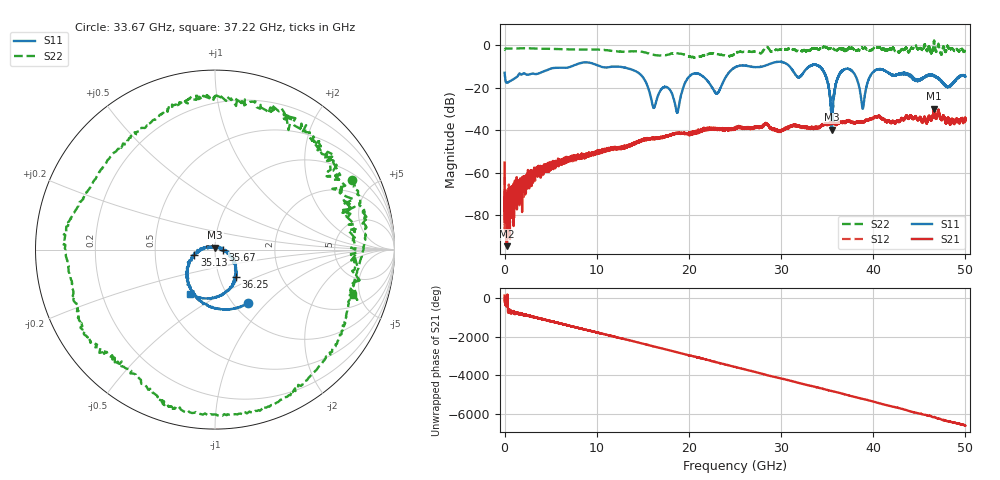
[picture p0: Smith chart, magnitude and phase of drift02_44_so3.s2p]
!Created with skrf (http://scikit-rf.org).
# Hz S RI R 50.0
!freq ReS11 ImS11 ReS21 ImS21 ReS12 ImS12 ReS22 ImS22
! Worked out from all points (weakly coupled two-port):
!   10001 points, 300 kHz to 50 GHz, reference 50 ohm
!   highest |S21| = -29.75 dB at 46.61 GHz (marker M1); lowest = -94.7 dB at 260.3 MHz (marker M2)
!   lowest |S11| = -39.7 dB at 35.51 GHz (marker M3), VSWR 1.02, Z = 50 + j1.03 ohm
!   |S11| at or under -10 dB: start of sweep to 7.178 GHz; 12.37 GHz to 25.16 GHz (12.79 GHz wide, 68.2 % of centre); 34.22 GHz to end of sweep (the widest 3 of 15)
!   |S22| runs from -5.7 to 2.4 dB; largest |S21 - S12| = 0.0033
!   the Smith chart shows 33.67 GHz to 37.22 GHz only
!   S11 on the Smith chart (normalised r, x): 33.67 GHz: 1.16, -0.79; 35.13 GHz: 0.79, -0.05; 35.67 GHz: 1.09, -0.00; 36.25 GHz: 1.20, -0.38; 37.22 GHz: 0.68, -0.36
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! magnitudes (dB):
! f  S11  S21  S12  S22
! 300 kHz  -12.9  -55.3  -61.9  -2.1
! 260.3 MHz  -17.6  -94.7  -75.3  -1.4
! 3.59 GHz  -13.4  -61.4  -59.0  -1.5
! 8.335 GHz  -8.2  -51.2  -51.9  -1.9
! 14.03 GHz  -11.8  -46.2  -45.6  -2.8
! 16.67 GHz  -23.3  -43.6  -43.8  -4.7
! 18.74 GHz  -31.7  -41.6  -41.5  -3.7
! 20.24 GHz  -13.9  -41.4  -41.8  -5.5
! 23.03 GHz  -22.6  -39.4  -39.2  -4.1
! 25 GHz  -10.3  -39.0  -38.9  -3.9
! 33.34 GHz  -9.3  -39.0  -38.7  -1.5
! 33.67 GHz  -9.1  -38.9  -38.8  -1.3
! 35.13 GHz  -18.5  -37.5  -37.2  -1.6
! 35.51 GHz  -39.7  -36.7  -36.7  -1.7
! 35.67 GHz  -26.9  -36.8  -36.8  -1.6
! 36.25 GHz  -14.3  -36.4  -36.7  -1.7
! 37.22 GHz  -11.0  -35.3  -35.5  -1.8
! 38.86 GHz  -29.9  -36.1  -36.2  -1.3
! 39.96 GHz  -12.7  -34.4  -34.4  -1.9
! 41.67 GHz  -13.0  -35.6  -35.6  -1.9
! 46.61 GHz  -14.2  -29.8  -30.1  2.4
! 50 GHz  -14.6  -34.3  -34.5  -2.7
